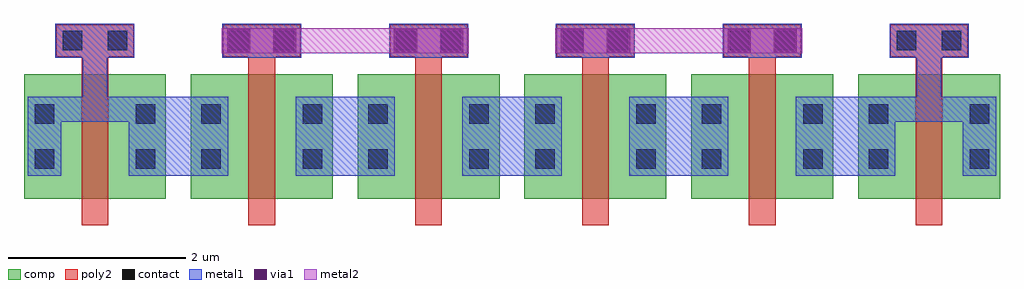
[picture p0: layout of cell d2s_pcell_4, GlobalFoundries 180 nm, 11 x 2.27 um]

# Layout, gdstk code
from math import pi, radians
import gdstk
lib = gdstk.Library(unit=1e-6, precision=5e-09)
def R(c, l, rs):  # rectangles x0, y0, x1, y1
    for r in rs: c.add(gdstk.rectangle(r[:2], r[2:], *l))
def A(c, l, x, y, w, h, nx, ny, dx, dy):  # array of equal rectangles
    R(c, l, [(x+i*dx, y+j*dy, x+i*dx+w, y+j*dy+h) for i in range(nx) for j in range(ny)])
comp = (22, 0)
poly2 = (30, 0)
contact = (33, 0)
metal1 = (34, 0)
via1 = (35, 0)
metal2 = (36, 0)

d2s_pcell_1 = lib.new_cell('d2s_pcell_1')
R(d2s_pcell_1, comp, [(0,0.3,0.46,1.7), (0.46,0.3,1.14,1.7), (1.14,0.3,1.6,1.7)])
R(d2s_pcell_1, poly2, [(0.65,0,0.95,2)])
R(d2s_pcell_1, contact, [(0.12,0.635,0.34,0.855), (1.26,0.635,1.48,0.855), (0.12,1.145,0.34,1.365), (1.26,1.145,1.48,1.365)])
R(d2s_pcell_1, metal1, [(0.04,0.555,0.42,1.445), (1.18,0.555,1.56,1.445)])

d2s_pcell_4 = lib.new_cell('d2s_pcell_4')
A(d2s_pcell_4, poly2, 0.365, 1.9, 0.87, 0.36, 6, 1, 1.88, 0)
R(d2s_pcell_4, contact, [(0.435,1.97,0.655,2.19), (0.945,1.97,1.165,2.19), (2.315,1.97,2.535,2.19), (2.825,1.97,3.045,2.19), (4.195,1.97,4.415,2.19), (4.705,1.97,4.925,2.19), (6.075,1.97,6.295,2.19), (6.585,1.97,6.805,2.19), (7.955,1.97,8.175,2.19), (8.465,1.97,8.685,2.19), (9.835,1.97,10.055,2.19), (10.345,1.97,10.565,2.19)])
A(d2s_pcell_4, metal1, 1.56, 0.555, 0.36, 0.89, 5, 1, 1.88, 0)
A(d2s_pcell_4, metal1, 0.355, 1.89, 0.89, 0.38, 6, 1, 1.88, 0)
R(d2s_pcell_4, via1, [(2.29,1.95,2.55,2.21), (2.81,1.95,3.07,2.21), (4.17,1.95,4.43,2.21), (4.69,1.95,4.95,2.21), (6.05,1.95,6.31,2.21), (6.57,1.95,6.83,2.21), (7.93,1.95,8.19,2.21), (8.45,1.95,8.71,2.21)])
d2s_pcell_4.add(gdstk.FlexPath([(10.2,1.89),(10.2,1.445)], 0.28, ends="flush", simple_path=True, layer=34, datatype=0))  # metal1
d2s_pcell_4.add(gdstk.FlexPath([(9.82,1.305),(10.58,1.305)], 0.28, ends="flush", simple_path=True, layer=34, datatype=0))  # metal1
d2s_pcell_4.add(gdstk.FlexPath([(0.8,1.89),(0.8,1.445)], 0.28, ends="flush", simple_path=True, layer=34, datatype=0))  # metal1
d2s_pcell_4.add(gdstk.FlexPath([(1.18,1.305),(0.42,1.305)], 0.28, ends="flush", simple_path=True, layer=34, datatype=0))  # metal1
d2s_pcell_4.add(gdstk.FlexPath([(5.01,2.08),(2.23,2.08)], 0.28, ends="flush", simple_path=True, layer=36, datatype=0))  # metal2
d2s_pcell_4.add(gdstk.FlexPath([(8.77,2.08),(5.99,2.08)], 0.28, ends="flush", simple_path=True, layer=36, datatype=0))  # metal2
d2s_pcell_4.add(gdstk.Reference(d2s_pcell_1, (1.88,0)))
d2s_pcell_4.add(gdstk.Reference(d2s_pcell_1, (3.76,0)))
d2s_pcell_4.add(gdstk.Reference(d2s_pcell_1, (5.64,0)))
d2s_pcell_4.add(gdstk.Reference(d2s_pcell_1, (7.52,0)))
d2s_pcell_4.add(gdstk.Reference(d2s_pcell_1, (9.4,0)))
d2s_pcell_4.add(gdstk.Reference(d2s_pcell_1, (1.6,0), rotation=pi, x_reflection=True))

lib.write_gds('d2s_pcell_4.gds')
